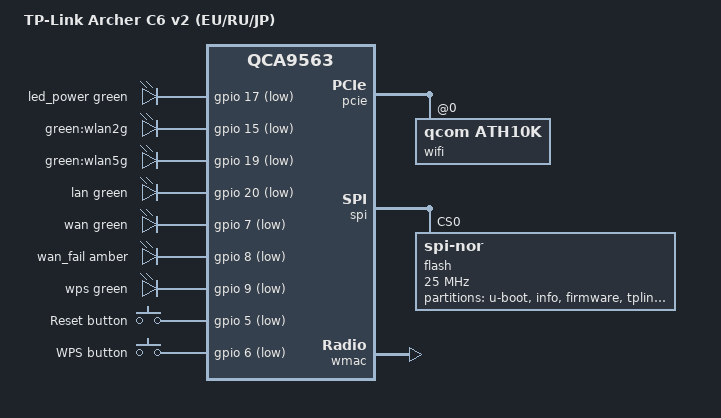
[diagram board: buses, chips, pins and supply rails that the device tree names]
// SPDX-License-Identifier: GPL-2.0-or-later OR MIT

#include <dt-bindings/leds/common.h>

#include "qca9563_tplink_archer-x6-v2.dtsi"

/ {
	compatible = "tplink,archer-c6-v2", "qca,qca9563";
	model = "TP-Link Archer C6 v2 (EU/RU/JP)";

	aliases {
		label-mac-device = &eth0;

		led-boot = &led_power;
		led-failsafe = &led_power;
		led-running = &led_power;
		led-upgrade = &led_power;
	};

	leds {
		compatible = "gpio-leds";

		led_power: power {
			function = LED_FUNCTION_POWER;
			color = <LED_COLOR_ID_GREEN>;
			gpios = <&gpio 17 GPIO_ACTIVE_LOW>;
			default-state = "on";
		};

		wlan2g {
			label = "green:wlan2g";
			gpios = <&gpio 15 GPIO_ACTIVE_LOW>;
			linux,default-trigger = "phy1tpt";
		};

		wlan5g {
			label = "green:wlan5g";
			gpios = <&gpio 19 GPIO_ACTIVE_LOW>;
			linux,default-trigger = "phy0tpt";
		};

		lan {
			function = LED_FUNCTION_LAN;
			color = <LED_COLOR_ID_GREEN>;
			gpios = <&gpio 20 GPIO_ACTIVE_LOW>;
		};

		wan {
			function = LED_FUNCTION_WAN;
			color = <LED_COLOR_ID_GREEN>;
			gpios = <&gpio 7 GPIO_ACTIVE_LOW>;
		};

		wan_fail {
			function = LED_FUNCTION_WAN;
			color = <LED_COLOR_ID_AMBER>;
			gpios = <&gpio 8 GPIO_ACTIVE_LOW>;
		};

		wps {
			function = LED_FUNCTION_WPS;
			color = <LED_COLOR_ID_GREEN>;
			gpios = <&gpio 9 GPIO_ACTIVE_LOW>;
		};
	};

	keys {
		compatible = "gpio-keys";

		reset {
			label = "Reset button";
			linux,code = <KEY_RESTART>;
			gpios = <&gpio 5 GPIO_ACTIVE_LOW>;
			debounce-interval = <60>;
		};

		wps {
			label = "WPS button";
			linux,code = <KEY_WPS_BUTTON>;
			gpios = <&gpio 6 GPIO_ACTIVE_LOW>;
			debounce-interval = <60>;
		};
	};
};

&pcie {
	wifi@0,0 {
		compatible = "qcom,ath10k";
		reg = <0x0000 0 0 0 0>;
		nvmem-cells = <&precal_art_5000>, <&macaddr_info_8 (-1)>;
		nvmem-cell-names = "pre-calibration", "mac-address";
		qcom,ath10k-calibration-variant = "TP-Link-Archer-c6-v2";
	};
};

&spi {
	status = "okay";

	flash@0 {
		compatible = "jedec,spi-nor";
		reg = <0>;
		spi-max-frequency = <25000000>;

		partitions {
			compatible = "fixed-partitions";
			#address-cells = <1>;
			#size-cells = <1>;

			partition@0 {
				label = "u-boot";
				reg = <0x000000 0x020000>;
				read-only;
			};

			partition@20000 {
				label = "info";
				reg = <0x020000 0x010000>;
				read-only;

				nvmem-layout {
					compatible = "fixed-layout";
					#address-cells = <1>;
					#size-cells = <1>;

					macaddr_info_8: macaddr@8 {
						compatible = "mac-base";
						reg = <0x8 0x6>;
						#nvmem-cell-cells = <1>;
					};
				};
			};

			partition@30000 {
				compatible = "denx,uimage";
				label = "firmware";
				reg = <0x030000 0x7a0000>;
			};

			partition@7d0000 {
				label = "tplink";
				reg = <0x7d0000 0x020000>;
				read-only;
			};

			partition@7f0000 {
				label = "art";
				reg = <0x7f0000 0x010000>;
				read-only;

				nvmem-layout {
					compatible = "fixed-layout";
					#address-cells = <1>;
					#size-cells = <1>;

					cal_art_1000: calibration@1000 {
						reg = <0x1000 0x440>;
					};

					precal_art_5000: pre-calibration@5000 {
						reg = <0x5000 0x2f20>;
					};
				};
			};
		};
	};
};

&eth0 {
	nvmem-cells = <&macaddr_info_8 0>;
	nvmem-cell-names = "mac-address";
};

&wmac {
	nvmem-cells = <&macaddr_info_8 0>, <&cal_art_1000>;
	nvmem-cell-names = "mac-address", "calibration";
};
